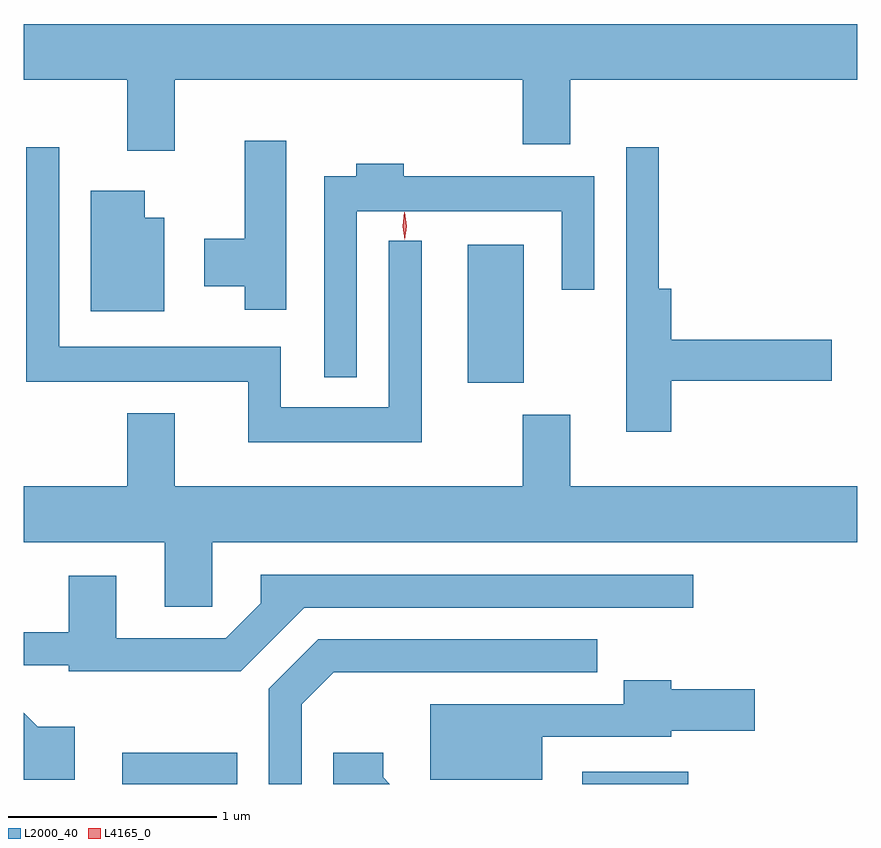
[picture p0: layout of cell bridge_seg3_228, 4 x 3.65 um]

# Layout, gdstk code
import gdstk
lib = gdstk.Library(unit=1e-6, precision=1e-09)
def R(c, l, rs):  # rectangles x0, y0, x1, y1
    for r in rs: c.add(gdstk.rectangle(r[:2], r[2:], *l))
def P(c, l, *ps):  # polygons
    for p in ps: c.add(gdstk.Polygon(p, *l))
L2000_40 = (2000, 40)
L4165_0 = (4165, 0)

bridge_seg3_228 = lib.new_cell('bridge_seg3_228')
R(bridge_seg3_228, L2000_40, [(977.276,1122.635,977.829,1122.784), (979.486,1122.635,979.994,1122.694), (978.936,1124.561,979.204,1125.224)])
P(bridge_seg3_228, L2000_40, [(976.805,1126.016),(977.301,1126.016),(977.301,1125.676),(977.529,1125.676),(977.529,1126.016),(979.201,1126.016),(979.201,1125.706),(979.429,1125.706),(979.429,1126.016),(980.805,1126.016),(980.805,1126.284),(976.805,1126.284)],
  [(978.064,1125.724),(977.866,1125.724),(977.866,1125.254),(977.671,1125.254),(977.671,1125.026),(977.866,1125.026),(977.866,1124.911),(978.064,1124.911)],
  [(978.714,1125.243),(978.556,1125.243),(978.556,1124.444),(978.039,1124.444),(978.039,1124.734),(976.974,1124.734),(976.974,1125.693),(976.816,1125.693),(976.816,1124.566),(977.881,1124.566),(977.881,1124.276),(978.714,1124.276)],
  [(979.914,1124.571),(980.684,1124.571),(980.684,1124.769),(979.914,1124.769),(979.914,1125.014),(979.854,1125.014),(979.854,1125.693),(979.696,1125.693),(979.696,1124.326),(979.914,1124.326)],
  [(978.404,1125.386),(979.386,1125.386),(979.386,1125.008),(979.544,1125.008),(979.544,1125.554),(978.629,1125.554),(978.629,1125.614),(978.401,1125.614),(978.401,1125.554),(978.246,1125.554),(978.246,1124.588),(978.404,1124.588)],
  [(977.479,1125.354),(977.384,1125.354),(977.384,1125.484),(977.126,1125.484),(977.126,1124.906),(977.479,1124.906)],
  [(977.709,1123.796),(980.805,1123.796),(980.805,1124.064),(979.429,1124.064),(979.429,1124.409),(979.201,1124.409),(979.201,1124.064),(977.529,1124.064),(977.529,1124.414),(977.301,1124.414),(977.301,1124.064),(976.805,1124.064),(976.805,1123.796),(977.481,1123.796),(977.481,1123.486),(977.709,1123.486)],
  [(978.152,1123.481),(980.018,1123.481),(980.018,1123.639),(977.941,1123.639),(977.941,1123.502),(977.774,1123.334),(977.249,1123.334),(977.249,1123.634),(977.021,1123.634),(977.021,1123.364),(976.805,1123.364),(976.805,1123.206),(977.021,1123.206),(977.021,1123.176),(977.847,1123.176)],
  [(978.139,1123.019),(978.292,1123.171),(979.558,1123.171),(979.558,1123.329),(978.219,1123.329),(977.981,1123.092),(977.981,1122.635),(978.139,1122.635)],
  [(979.294,1122.861),(979.914,1122.861),(979.914,1122.891),(980.314,1122.891),(980.314,1123.089),(979.914,1123.089),(979.914,1123.134),(979.686,1123.134),(979.686,1123.019),(978.756,1123.019),(978.756,1122.656),(979.294,1122.656)],
  [(977.049,1122.909),(976.872,1122.909),(976.805,1122.976),(976.805,1122.656),(977.049,1122.656)],
  [(978.529,1122.667),(978.529,1122.784),(978.291,1122.784),(978.291,1122.635),(978.561,1122.635)])
P(bridge_seg3_228, L4165_0, [(978.633,1125.247),(978.633,1125.247),(978.623,1125.314),(978.632,1125.38),(978.633,1125.38),(978.633,1125.38),(978.643,1125.314),(978.634,1125.247)])

lib.write_gds('bridge_seg3_228.gds')
